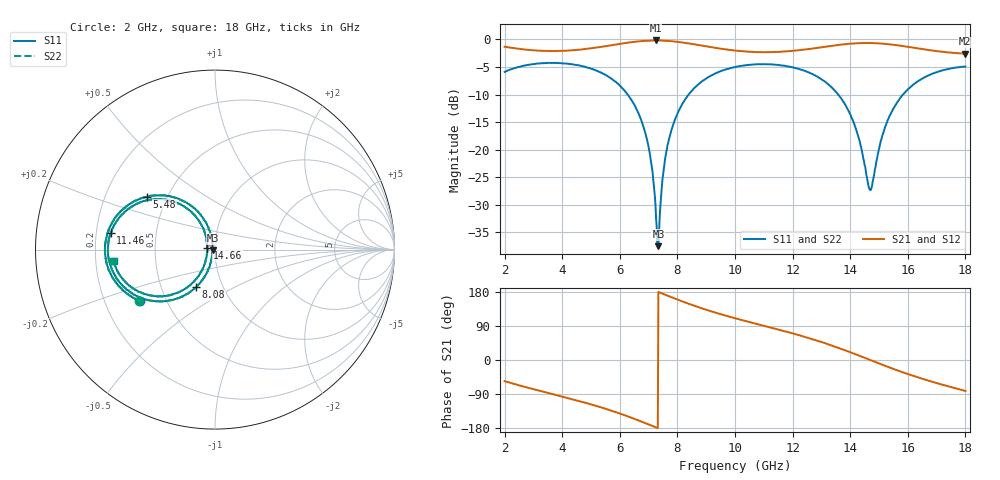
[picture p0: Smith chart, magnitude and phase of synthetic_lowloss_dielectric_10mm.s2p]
! SYNTHETIC DEMONSTRATION DATA - generated by examples/make_synthetic_s2p.py (nrw.forward ABCD cascade)
! eps model: Debye(eps_inf=4.0, delta=0.2, f_relax=30000000000.0, sigma_dc=0.0)
! mu model: 1.0
! length_m: 0.01
! geometry: 7 mm coax (TEM)
! noise: circular complex Gaussian, rms 1e-3, seed 2026
# HZ S RI R 50
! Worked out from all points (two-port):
!   801 points, 2 GHz to 18 GHz, reference 50 ohm
!   highest |S21| = -0.18 dB at 7.24 GHz (marker M1); lowest = -2.6 dB at 17.98 GHz (marker M2)
!   |S21| within 3 dB of the highest: start of sweep to end of sweep
!   lowest |S11| = -37.5 dB at 7.34 GHz (marker M3), VSWR 1.03, Z = 48.8 - j0.477 ohm
!   |S11| at or under -10 dB: 6.273 GHz to 8.391 GHz (2.118 GHz wide, 28.9 % of centre); 13.58 GHz to 15.83 GHz (2.243 GHz wide, 15.3 % of centre)
!   |S22| runs from -37.6 to -4.2 dB; largest |S21 - S12| = 0.004
!   S11 on the Smith chart (normalised r, x): 2 GHz: 0.35, -0.27; 5.48 GHz: 0.39, +0.30; 8.08 GHz: 0.74, -0.33; 11.46 GHz: 0.26, +0.07; 14.66 GHz: 0.92, +0.02; 18 GHz: 0.28, -0.05
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2e9  -0.4202 -0.2848  0.4838 -0.7104  0.4848 -0.71  -0.4213 -0.2848
3.34e9  -0.6059 -0.0636  0.0863 -0.7845  0.0859 -0.7838  -0.6062 -0.0629
4.68e9  -0.5372 0.1995  -0.2801 -0.7624  -0.281 -0.7628  -0.5379 0.1995
5.48e9  -0.3793 0.2952  -0.535 -0.6831  -0.5347 -0.6833  -0.3794 0.296
6.2e9  -0.1894 0.2762  -0.7749 -0.5127  -0.7754 -0.5113  -0.1893 0.2758
6.72e9  -0.0695 0.1802  -0.9148 -0.3046  -0.9139 -0.3044  -0.0671 0.1795
7.06e9  -0.0241 0.0825  -0.9664 -0.1383  -0.966 -0.1376  -0.0234 0.0835
7.24e9  -0.0133 0.0282  -0.9785 -0.0443  -0.9792 -0.0442  -0.014 0.0264
7.34e9  -0.0124 -0.00489  -0.9788 0.00898  -0.9781 0.00803  -0.0132 -0.00479
7.62e9  -0.0297 -0.0929  -0.9591 0.1521  -0.9593 0.1525  -0.0296 -0.0916
8.08e9  -0.1065 -0.2104  -0.8729 0.3661  -0.8729 0.3659  -0.1066 -0.2096
8.86e9  -0.3027 -0.2879  -0.6328 0.6093  -0.6322 0.6084  -0.3042 -0.2874
1e10  -0.5326 -0.1808  -0.2746 0.746  -0.2749 0.7449  -0.5331 -0.1811
1.146e10  -0.5812 0.0925  0.1185 0.7626  0.1173 0.7617  -0.5813 0.0927
1.268e10  -0.4074 0.2664  0.4723 0.6797  0.4716 0.6785  -0.4072 0.2666
1.392e10  -0.1193 0.1992  0.8391 0.3561  0.8389 0.354  -0.1205 0.1974
1.43e10  -0.0629 0.1103  0.9059 0.1882  0.9055 0.1885  -0.0626 0.1098
1.466e10  -0.0434 0.0106  0.9281 0.0177  0.9301 0.0169  -0.0436 0.012
1.534e10  -0.1055 -0.1632  0.8565 -0.2944  0.8556 -0.2947  -0.1059 -0.1634
1.632e10  -0.3216 -0.261  0.588 -0.5889  0.5887 -0.5888  -0.3201 -0.2592
1.798e10  -0.5633 -0.0681  0.1129 -0.7355  0.1138 -0.7355  -0.563 -0.0682
1.8e10  -0.5651 -0.0644  0.1089 -0.7364  0.1074 -0.7359  -0.5659 -0.0642
